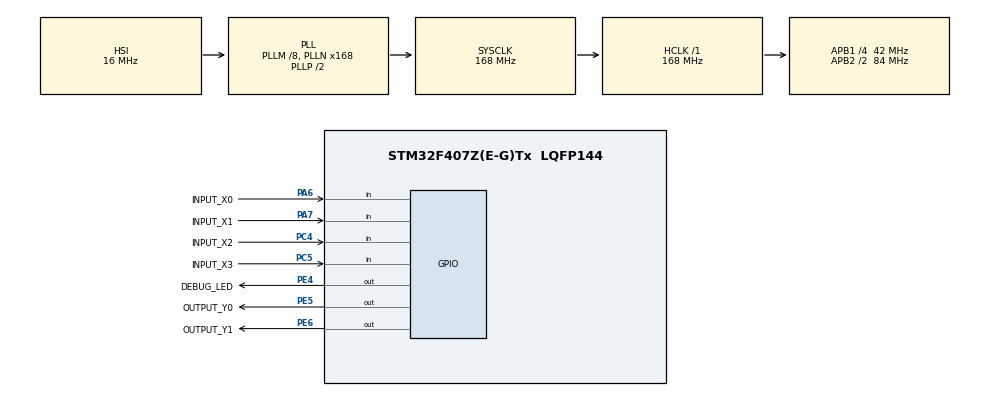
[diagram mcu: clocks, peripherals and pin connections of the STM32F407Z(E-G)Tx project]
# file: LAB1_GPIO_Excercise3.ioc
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Mcu.Family=STM32F4
Mcu.Name=STM32F407Z(E-G)Tx
Mcu.Package=LQFP144
NVIC.PriorityGroup=NVIC_PRIORITYGROUP_4
PA13.Mode=Serial_Wire
PA13.Signal=SYS_JTMS-SWDIO
PA14.Mode=Serial_Wire
PA14.Signal=SYS_JTCK-SWCLK
PA6.GPIO_Label=INPUT_X0
PA6.Signal=GPIO_Input
PA7.GPIO_Label=INPUT_X1
PA7.Signal=GPIO_Input
PC4.GPIO_Label=INPUT_X2
PC4.Signal=GPIO_Input
PC5.GPIO_Label=INPUT_X3
PC5.Signal=GPIO_Input
PE4.GPIO_Label=DEBUG_LED
PE4.Signal=GPIO_Output
PE5.GPIO_Label=OUTPUT_Y0
PE5.Signal=GPIO_Output
PE6.GPIO_Label=OUTPUT_Y1
PE6.Signal=GPIO_Output
PH0-OSC_IN.Mode=HSE-External-Oscillator
PH0-OSC_IN.Signal=RCC_OSC_IN
PH1-OSC_OUT.Mode=HSE-External-Oscillator
PH1-OSC_OUT.Signal=RCC_OSC_OUT
ProjectManager.HeapSize=0x200
ProjectManager.StackSize=0x400
ProjectManager.TargetToolchain=STM32CubeIDE
RCC.48MHZClocksFreq_Value=84000000
RCC.AHBFreq_Value=168000000
RCC.APB1CLKDivider=RCC_HCLK_DIV4
RCC.APB1Freq_Value=42000000
RCC.APB1TimFreq_Value=84000000
RCC.APB2CLKDivider=RCC_HCLK_DIV2
RCC.APB2Freq_Value=84000000
RCC.APB2TimFreq_Value=168000000
RCC.CortexFreq_Value=168000000
RCC.HCLKFreq_Value=168000000
RCC.HSE_VALUE=8000000
RCC.HSI_VALUE=16000000
RCC.LSE_VALUE=32768
RCC.PLLM=8
RCC.PLLN=168
RCC.SYSCLKFreq_VALUE=168000000
RCC.SYSCLKSource=RCC_SYSCLKSOURCE_PLLCLK
RCC.VCOOutputFreq_Value=336000000
board=custom

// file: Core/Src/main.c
/* USER CODE BEGIN Header */
/**
  ******************************************************************************
  * @file           : main.c
  * @brief          : Main program body
  ******************************************************************************
  * @attention
  *
  * <h2><center>&copy; Copyright (c) 2024 STMicroelectronics.
  * All rights reserved.</center></h2>
  *
  * This software component is licensed by ST under BSD 3-Clause license,
  * the "License"; You may not use this file except in compliance with the
  * License. You may obtain a copy of the License at:
  *                        opensource.org/licenses/BSD-3-Clause
  *
  ******************************************************************************
  */
/* USER CODE END Header */
#include "main.h"

void SystemClock_Config(void);
static void MX_GPIO_Init(void);

int main(void)
{

  /* MCU Configuration--------------------------------------------------------*/

  /* Reset of all peripherals, Initializes the Flash interface and the Systick. */
  HAL_Init();

  /* Configure the system clock */
  SystemClock_Config();

  /* Initialize all configured peripherals */
  MX_GPIO_Init();

  /* Infinite loop */
  /* USER CODE BEGIN WHILE */
  int counter = 0;
  while (1)
  {
	  //	  RED: LED3, GREEN: Y0, YELLOW: Y1
	  	if (counter == 9) counter = 0;
	  	if (counter < 5) {
			// Red Light (5 seconds)
			HAL_GPIO_WritePin(DEBUG_LED_GPIO_Port, DEBUG_LED_Pin, 1);
			HAL_GPIO_WritePin(OUTPUT_Y0_GPIO_Port, OUTPUT_Y0_Pin, 0);
			HAL_GPIO_WritePin(OUTPUT_Y1_GPIO_Port, OUTPUT_Y1_Pin, 0);
	  	} else if (counter < 8) {
			// Green Light (3 seconds)
			HAL_GPIO_WritePin(DEBUG_LED_GPIO_Port, DEBUG_LED_Pin, 0);
			HAL_GPIO_WritePin(OUTPUT_Y0_GPIO_Port, OUTPUT_Y0_Pin, 1);
			HAL_GPIO_WritePin(OUTPUT_Y1_GPIO_Port, OUTPUT_Y1_Pin, 0);
	  	} else {
			// Yellow Light (1 second)
			HAL_GPIO_WritePin(DEBUG_LED_GPIO_Port, DEBUG_LED_Pin, 0);
			HAL_GPIO_WritePin(OUTPUT_Y0_GPIO_Port, OUTPUT_Y0_Pin, 0);
			HAL_GPIO_WritePin(OUTPUT_Y1_GPIO_Port, OUTPUT_Y1_Pin, 1);
	  	}
		counter++;
		HAL_Delay(1000);

    /* USER CODE END WHILE */

  }
}

void SystemClock_Config(void)
{
  RCC_OscInitTypeDef RCC_OscInitStruct = {0};
  RCC_ClkInitTypeDef RCC_ClkInitStruct = {0};

  /** Configure the main internal regulator output voltage
  */
  __HAL_RCC_PWR_CLK_ENABLE();
  __HAL_PWR_VOLTAGESCALING_CONFIG(PWR_REGULATOR_VOLTAGE_SCALE1);
  /** Initializes the RCC Oscillators according to the specified parameters
  * in the RCC_OscInitTypeDef structure.
  */
  RCC_OscInitStruct.OscillatorType = RCC_OSCILLATORTYPE_HSI;
  RCC_OscInitStruct.HSIState = RCC_HSI_ON;
  RCC_OscInitStruct.HSICalibrationValue = RCC_HSICALIBRATION_DEFAULT;
  RCC_OscInitStruct.PLL.PLLState = RCC_PLL_ON;
  RCC_OscInitStruct.PLL.PLLSource = RCC_PLLSOURCE_HSI;
  RCC_OscInitStruct.PLL.PLLM = 8;
  RCC_OscInitStruct.PLL.PLLN = 168;
  RCC_OscInitStruct.PLL.PLLP = RCC_PLLP_DIV2;
  RCC_OscInitStruct.PLL.PLLQ = 4;
  if (HAL_RCC_OscConfig(&RCC_OscInitStruct) != HAL_OK)
  {
    Error_Handler();
  }
  /** Initializes the CPU, AHB and APB buses clocks
  */
  RCC_ClkInitStruct.ClockType = RCC_CLOCKTYPE_HCLK|RCC_CLOCKTYPE_SYSCLK
                              |RCC_CLOCKTYPE_PCLK1|RCC_CLOCKTYPE_PCLK2;
  RCC_ClkInitStruct.SYSCLKSource = RCC_SYSCLKSOURCE_PLLCLK;
  RCC_ClkInitStruct.AHBCLKDivider = RCC_SYSCLK_DIV1;
  RCC_ClkInitStruct.APB1CLKDivider = RCC_HCLK_DIV4;
  RCC_ClkInitStruct.APB2CLKDivider = RCC_HCLK_DIV2;

  if (HAL_RCC_ClockConfig(&RCC_ClkInitStruct, FLASH_LATENCY_5) != HAL_OK)
  {
    Error_Handler();
  }
}

static void MX_GPIO_Init(void)
{
  GPIO_InitTypeDef GPIO_InitStruct = {0};

  /* GPIO Ports Clock Enable */
  __HAL_RCC_GPIOE_CLK_ENABLE();
  __HAL_RCC_GPIOH_CLK_ENABLE();
  __HAL_RCC_GPIOA_CLK_ENABLE();
  __HAL_RCC_GPIOC_CLK_ENABLE();

  /*Configure GPIO pin Output Level */
  HAL_GPIO_WritePin(GPIOE, DEBUG_LED_Pin|OUTPUT_Y0_Pin|OUTPUT_Y1_Pin, GPIO_PIN_RESET);

  /*Configure GPIO pins : DEBUG_LED_Pin OUTPUT_Y0_Pin OUTPUT_Y1_Pin */
  GPIO_InitStruct.Pin = DEBUG_LED_Pin|OUTPUT_Y0_Pin|OUTPUT_Y1_Pin;
  GPIO_InitStruct.Mode = GPIO_MODE_OUTPUT_PP;
  GPIO_InitStruct.Pull = GPIO_NOPULL;
  GPIO_InitStruct.Speed = GPIO_SPEED_FREQ_LOW;
  HAL_GPIO_Init(GPIOE, &GPIO_InitStruct);

  /*Configure GPIO pins : INPUT_X0_Pin INPUT_X1_Pin */
  GPIO_InitStruct.Pin = INPUT_X0_Pin|INPUT_X1_Pin;
  GPIO_InitStruct.Mode = GPIO_MODE_INPUT;
  GPIO_InitStruct.Pull = GPIO_NOPULL;
  HAL_GPIO_Init(GPIOA, &GPIO_InitStruct);

  /*Configure GPIO pins : INPUT_X2_Pin INPUT_X3_Pin */
  GPIO_InitStruct.Pin = INPUT_X2_Pin|INPUT_X3_Pin;
  GPIO_InitStruct.Mode = GPIO_MODE_INPUT;
  GPIO_InitStruct.Pull = GPIO_NOPULL;
  HAL_GPIO_Init(GPIOC, &GPIO_InitStruct);

}

void Error_Handler(void)
{
  __disable_irq();
  while (1)
  {
  }
}

/************************ (C) COPYRIGHT STMicroelectronics *****END OF FILE****/
